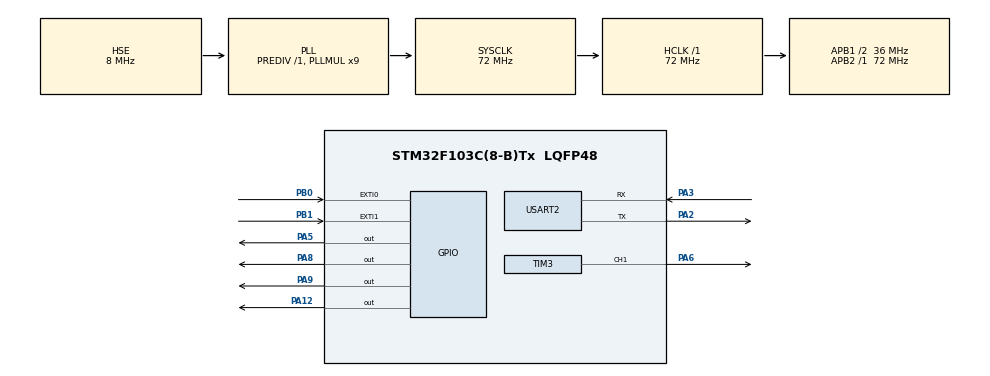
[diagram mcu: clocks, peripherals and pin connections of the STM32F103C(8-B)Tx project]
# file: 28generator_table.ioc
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Dma.Request0=USART2_RX
Dma.Request1=USART2_TX
Dma.USART2_RX.0.Direction=DMA_PERIPH_TO_MEMORY
Dma.USART2_RX.0.Instance=DMA1_Channel6
Dma.USART2_RX.0.MemDataAlignment=DMA_MDATAALIGN_BYTE
Dma.USART2_RX.0.MemInc=DMA_MINC_ENABLE
Dma.USART2_RX.0.Mode=DMA_CIRCULAR
Dma.USART2_RX.0.PeriphDataAlignment=DMA_PDATAALIGN_BYTE
Dma.USART2_RX.0.PeriphInc=DMA_PINC_DISABLE
Dma.USART2_RX.0.Priority=DMA_PRIORITY_LOW
Dma.USART2_TX.1.Direction=DMA_MEMORY_TO_PERIPH
Dma.USART2_TX.1.Instance=DMA1_Channel7
Dma.USART2_TX.1.MemDataAlignment=DMA_MDATAALIGN_BYTE
Dma.USART2_TX.1.MemInc=DMA_MINC_ENABLE
Dma.USART2_TX.1.Mode=DMA_NORMAL
Dma.USART2_TX.1.PeriphDataAlignment=DMA_PDATAALIGN_BYTE
Dma.USART2_TX.1.PeriphInc=DMA_PINC_DISABLE
Dma.USART2_TX.1.Priority=DMA_PRIORITY_LOW
Mcu.Family=STM32F1
Mcu.Name=STM32F103C(8-B)Tx
Mcu.Package=LQFP48
NVIC.DMA1_Channel6_IRQn=true\:0\:0\:false\:false\:true\:false\:true\:true
NVIC.DMA1_Channel7_IRQn=true\:0\:0\:false\:false\:true\:false\:true\:true
NVIC.EXTI0_IRQn=true\:0\:0\:false\:false\:true\:true\:true\:true
NVIC.EXTI1_IRQn=true\:0\:0\:false\:false\:true\:true\:true\:true
NVIC.PriorityGroup=NVIC_PRIORITYGROUP_4
NVIC.USART2_IRQn=true\:1\:0\:true\:false\:true\:true\:true\:true
PA13.Mode=Serial_Wire
PA13.Signal=SYS_JTMS-SWDIO
PA14.Mode=Serial_Wire
PA14.Signal=SYS_JTCK-SWCLK
PA2.Mode=Asynchronous
PA2.Signal=USART2_TX
PA3.Mode=Asynchronous
PA3.Signal=USART2_RX
PA5.GPIO_Speed=GPIO_SPEED_FREQ_HIGH
PA5.PinState=GPIO_PIN_RESET
PA5.Signal=GPIO_Output
PA6.Signal=S_TIM3_CH1
PA8.GPIO_ModeDefaultOutputPP=GPIO_MODE_OUTPUT_OD
PA8.GPIO_PuPd=GPIO_PULLUP
PA8.GPIO_Speed=GPIO_SPEED_FREQ_HIGH
PA8.Signal=GPIO_Output
PA9.GPIO_ModeDefaultOutputPP=GPIO_MODE_OUTPUT_OD
PA9.GPIO_PuPd=GPIO_PULLUP
PA9.GPIO_Speed=GPIO_SPEED_FREQ_HIGH
PA9.Signal=GPIO_Output
PA12.GPIO_Speed=GPIO_SPEED_FREQ_HIGH
PA12.PinState=GPIO_PIN_RESET
PA12.Signal=GPIO_Output
PB0.GPIO_ModeDefaultEXTI=GPIO_MODE_IT_FALLING
PB0.GPIO_PuPd=GPIO_PULLUP
PB0.Signal=GPXTI0
PB1.GPIO_ModeDefaultEXTI=GPIO_MODE_IT_FALLING
PB1.GPIO_PuPd=GPIO_PULLUP
PB1.Signal=GPXTI1
PD0-OSC_IN.Mode=HSE-External-Oscillator
PD0-OSC_IN.Signal=RCC_OSC_IN
PD1-OSC_OUT.Mode=HSE-External-Oscillator
PD1-OSC_OUT.Signal=RCC_OSC_OUT
ProjectManager.HeapSize=0x200
ProjectManager.StackSize=0x400
ProjectManager.TargetToolchain=CMake
RCC.AHBFreq_Value=72000000
RCC.APB1CLKDivider=RCC_HCLK_DIV2
RCC.APB1Freq_Value=36000000
RCC.APB1TimFreq_Value=72000000
RCC.APB2Freq_Value=72000000
RCC.APB2TimFreq_Value=72000000
RCC.HCLKFreq_Value=72000000
RCC.PLLMUL=RCC_PLL_MUL9
RCC.PLLSourceVirtual=RCC_PLLSOURCE_HSE
RCC.SYSCLKFreq_VALUE=72000000
RCC.SYSCLKSource=RCC_SYSCLKSOURCE_PLLCLK
RCC.USBFreq_Value=72000000
SH.S_TIM3_CH1.0=TIM3_CH1,PWM Generation1 CH1
TIM3.AutoReloadPreload=TIM_AUTORELOAD_PRELOAD_ENABLE
TIM3.Channel-PWM\ Generation1\ CH1=TIM_CHANNEL_1
TIM3.Period=999
TIM3.Prescaler=71
TIM3.Pulse-PWM\ Generation1\ CH1=500
USART2.VirtualMode=VM_ASYNC
board=custom

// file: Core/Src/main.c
/* USER CODE BEGIN Header */
/**
  ******************************************************************************
  * @file           : main.c
  * @brief          : Main program body
  ******************************************************************************
  * @attention
  *
  * Copyright (c) 2026 STMicroelectronics.
  * All rights reserved.
  *
  * This software is licensed under terms that can be found in the LICENSE file
  * in the root directory of this software component.
  * If no LICENSE file comes with this software, it is provided AS-IS.
  *
  ******************************************************************************
  */
/* USER CODE END Header */
#include "main.h"
#include "dma.h"
#include "tim.h"
#include "usart.h"
#include "gpio.h"

/* USER CODE BEGIN Includes */
#include "stepper.h"
#include "OLED.h"
#include "cli.h"
#include "app.h"
/* USER CODE END Includes */

/* USER CODE BEGIN PD */
/* 独立看门狗：调试打时会触发复位，默认关闭；量产/长期运行时改成 1 */
#define APP_IWDG_ENABLE   0
/* USER CODE END PD */

void SystemClock_Config(void);

/* USER CODE BEGIN 0 */
#if (APP_IWDG_ENABLE != 0)
static void IWDG_Init(void)
{
  IWDG->KR  = 0xCCCCu;      /* 启动 LSI */
  IWDG->KR  = 0x5555u;      /* 允许写 PR/RLR */
  IWDG->PR  = 4u;           /* LSI/64 -> 625Hz */
  IWDG->RLR = 1250u;        /* 约 2s 超时 */
  IWDG->KR  = 0xAAAAu;      /* 喂狗 */
}
#endif
/* USER CODE END 0 */

int main(void)
{

  /* MCU Configuration--------------------------------------------------------*/

  /* Reset of all peripherals, Initializes the Flash interface and the Systick. */
  HAL_Init();

  /* Configure the system clock */
  SystemClock_Config();

  /* Initialize all configured peripherals */
  MX_GPIO_Init();
  MX_DMA_Init();
  MX_TIM3_Init();
  MX_USART2_UART_Init();
  /* USER CODE BEGIN 2 */
  /* PA2(USART2_TX) 实测损坏：空闲时本应为 3.3V，实测 0V，拔线仍为 0V。
     已把控制台移到 USART3(PB10/PB11)，这里把 PA2 置为浮空输入，避免继续灌电流。 */
  HAL_GPIO_DeInit(GPIOA, GPIO_PIN_2);

  Stepper_Init();      /* DIR 引脚 + PWM2 低极性 + TIM3 中断 */
  OLED_Init();         /* PA8/PA9 软件 I2C */
  CLI_Init();          /* USART3：PB10=TX, PB11=RX，RXNE 中断 */
  App_Init();          /* 界面、状态机 */
#if (APP_IWDG_ENABLE != 0)
  IWDG_Init();
#endif
  /* USER CODE END 2 */

  /* Infinite loop */
  while (1)
  {

    /* USER CODE BEGIN 3 */
#if (APP_IWDG_ENABLE != 0)
    IWDG->KR = 0xAAAAu;
#endif
    CLI_Poll();
    App_Poll();
  }
  /* USER CODE END 3 */
}

void SystemClock_Config(void)
{
  RCC_OscInitTypeDef RCC_OscInitStruct = {0};
  RCC_ClkInitTypeDef RCC_ClkInitStruct = {0};

  /** Initializes the RCC Oscillators according to the specified parameters
  * in the RCC_OscInitTypeDef structure.
  */
  RCC_OscInitStruct.OscillatorType = RCC_OSCILLATORTYPE_HSE;
  RCC_OscInitStruct.HSEState = RCC_HSE_ON;
  RCC_OscInitStruct.HSEPredivValue = RCC_HSE_PREDIV_DIV1;
  RCC_OscInitStruct.HSIState = RCC_HSI_ON;
  RCC_OscInitStruct.PLL.PLLState = RCC_PLL_ON;
  RCC_OscInitStruct.PLL.PLLSource = RCC_PLLSOURCE_HSE;
  RCC_OscInitStruct.PLL.PLLMUL = RCC_PLL_MUL9;
  if (HAL_RCC_OscConfig(&RCC_OscInitStruct) != HAL_OK)
  {
    Error_Handler();
  }

  /** Initializes the CPU, AHB and APB buses clocks
  */
  RCC_ClkInitStruct.ClockType = RCC_CLOCKTYPE_HCLK|RCC_CLOCKTYPE_SYSCLK
                              |RCC_CLOCKTYPE_PCLK1|RCC_CLOCKTYPE_PCLK2;
  RCC_ClkInitStruct.SYSCLKSource = RCC_SYSCLKSOURCE_PLLCLK;
  RCC_ClkInitStruct.AHBCLKDivider = RCC_SYSCLK_DIV1;
  RCC_ClkInitStruct.APB1CLKDivider = RCC_HCLK_DIV2;
  RCC_ClkInitStruct.APB2CLKDivider = RCC_HCLK_DIV1;

  if (HAL_RCC_ClockConfig(&RCC_ClkInitStruct, FLASH_LATENCY_2) != HAL_OK)
  {
    Error_Handler();
  }
}

void Error_Handler(void)
{
  __disable_irq();
  while (1)
  {
  }
}
